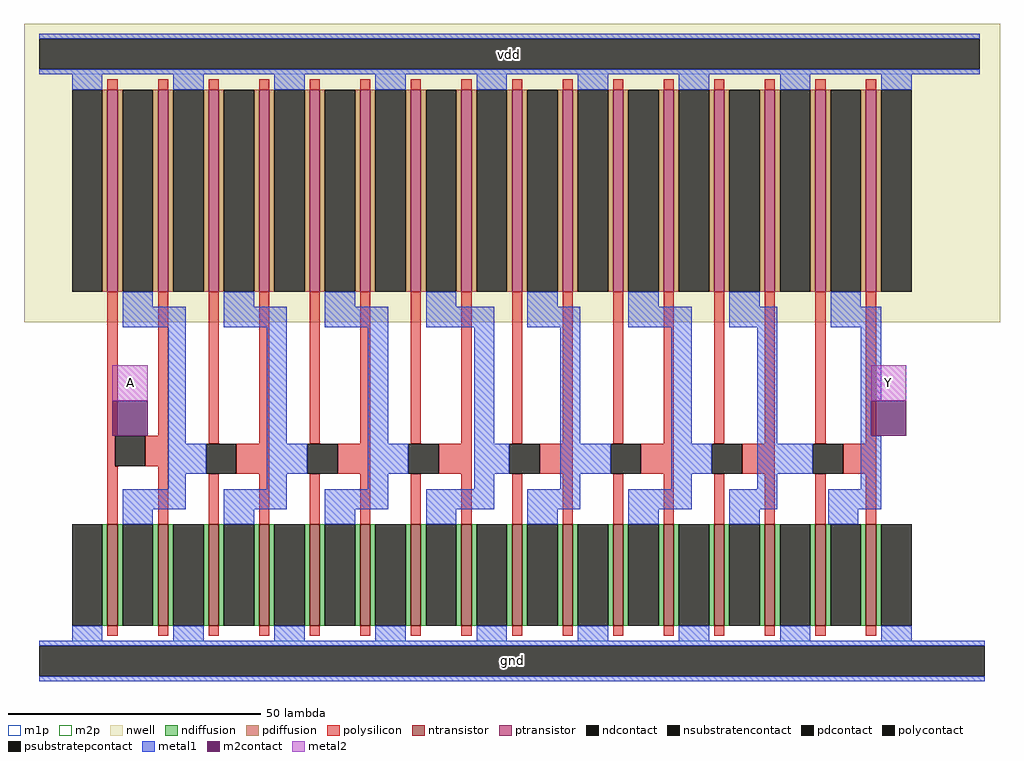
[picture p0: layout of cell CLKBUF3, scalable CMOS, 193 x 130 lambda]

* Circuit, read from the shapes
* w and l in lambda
.subckt CLKBUF3 A Y vdd gnd
M1 n1 A gnd gnd nfet w=20 l=2 m=2
M2 n2 n1 gnd gnd nfet w=20 l=2 m=2
M3 n3 n2 gnd gnd nfet w=20 l=2 m=2
M4 n4 n3 gnd gnd nfet w=20 l=2 m=2
M5 n5 n4 gnd gnd nfet w=20 l=2 m=2
M6 n6 n5 gnd gnd nfet w=20 l=2 m=2
M7 n7 n6 gnd gnd nfet w=20 l=2 m=2
M8 Y n7 gnd gnd nfet w=20 l=2 m=2
M9 n1 A vdd vdd pfet w=40 l=2 m=2
M10 n2 n1 vdd vdd pfet w=40 l=2 m=2
M11 n3 n2 vdd vdd pfet w=40 l=2 m=2
M12 n4 n3 vdd vdd pfet w=40 l=2 m=2
M13 n5 n4 vdd vdd pfet w=40 l=2 m=2
M14 n6 n5 vdd vdd pfet w=40 l=2 m=2
M15 n7 n6 vdd vdd pfet w=40 l=2 m=2
M16 Y n7 vdd vdd pfet w=40 l=2 m=2
.ends

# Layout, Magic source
magic
tech scmos
magscale 1 2
<< nwell >>
rect -12 134 374 252
<< ntransistor >>
rect 21 14 25 54
rect 41 14 45 54
rect 61 14 65 54
rect 81 14 85 54
rect 101 14 105 54
rect 121 14 125 54
rect 141 14 145 54
rect 161 14 165 54
rect 181 14 185 54
rect 201 14 205 54
rect 221 14 225 54
rect 241 14 245 54
rect 261 14 265 54
rect 281 14 285 54
rect 301 14 305 54
rect 321 14 325 54
<< ptransistor >>
rect 21 146 25 226
rect 41 146 45 226
rect 61 146 65 226
rect 81 146 85 226
rect 101 146 105 226
rect 121 146 125 226
rect 141 146 145 226
rect 161 146 165 226
rect 181 146 185 226
rect 201 146 205 226
rect 221 146 225 226
rect 241 146 245 226
rect 261 146 265 226
rect 281 146 285 226
rect 301 146 305 226
rect 321 146 325 226
<< ndiffusion >>
rect 19 14 21 54
rect 25 14 27 54
rect 39 14 41 54
rect 45 14 47 54
rect 59 14 61 54
rect 65 14 67 54
rect 79 14 81 54
rect 85 14 87 54
rect 99 14 101 54
rect 105 14 107 54
rect 119 14 121 54
rect 125 14 127 54
rect 139 14 141 54
rect 145 14 147 54
rect 159 14 161 54
rect 165 14 167 54
rect 179 14 181 54
rect 185 14 187 54
rect 199 14 201 54
rect 205 14 207 54
rect 219 14 221 54
rect 225 14 227 54
rect 239 14 241 54
rect 245 14 247 54
rect 259 14 261 54
rect 265 14 267 54
rect 279 14 281 54
rect 285 14 287 54
rect 299 14 301 54
rect 305 14 307 54
rect 319 14 321 54
rect 325 14 327 54
<< pdiffusion >>
rect 19 146 21 226
rect 25 146 27 226
rect 39 146 41 226
rect 45 146 47 226
rect 59 146 61 226
rect 65 146 67 226
rect 79 146 81 226
rect 85 146 87 226
rect 99 146 101 226
rect 105 146 107 226
rect 119 146 121 226
rect 125 146 127 226
rect 139 146 141 226
rect 145 146 147 226
rect 159 146 161 226
rect 165 146 167 226
rect 179 146 181 226
rect 185 146 187 226
rect 199 146 201 226
rect 205 146 207 226
rect 219 146 221 226
rect 225 146 227 226
rect 239 146 241 226
rect 245 146 247 226
rect 259 146 261 226
rect 265 146 267 226
rect 279 146 281 226
rect 285 146 287 226
rect 299 146 301 226
rect 305 146 307 226
rect 319 146 321 226
rect 325 146 327 226
<< ndcontact >>
rect 7 14 19 54
rect 27 14 39 54
rect 47 14 59 54
rect 67 14 79 54
rect 87 14 99 54
rect 107 14 119 54
rect 127 14 139 54
rect 147 14 159 54
rect 167 14 179 54
rect 187 14 199 54
rect 207 14 219 54
rect 227 14 239 54
rect 247 14 259 54
rect 267 14 279 54
rect 287 14 299 54
rect 307 14 319 54
rect 327 14 339 54
<< pdcontact >>
rect 7 146 19 226
rect 27 146 39 226
rect 47 146 59 226
rect 67 146 79 226
rect 87 146 99 226
rect 107 146 119 226
rect 127 146 139 226
rect 147 146 159 226
rect 167 146 179 226
rect 187 146 199 226
rect 207 146 219 226
rect 227 146 239 226
rect 247 146 259 226
rect 267 146 279 226
rect 287 146 299 226
rect 307 146 319 226
rect 327 146 339 226
<< psubstratepcontact >>
rect -6 -6 368 6
<< nsubstratencontact >>
rect -6 234 366 246
<< polysilicon >>
rect 21 226 25 230
rect 41 226 45 230
rect 61 226 65 230
rect 81 226 85 230
rect 101 226 105 230
rect 121 226 125 230
rect 141 226 145 230
rect 161 226 165 230
rect 181 226 185 230
rect 201 226 205 230
rect 221 226 225 230
rect 241 226 245 230
rect 261 226 265 230
rect 281 226 285 230
rect 301 226 305 230
rect 321 226 325 230
rect 21 89 25 146
rect 41 89 45 146
rect 21 77 24 89
rect 36 77 45 89
rect 61 86 65 146
rect 81 86 85 146
rect 101 86 105 146
rect 121 86 125 146
rect 141 86 145 146
rect 161 86 165 146
rect 181 86 185 146
rect 201 86 205 146
rect 221 86 225 146
rect 241 86 245 146
rect 261 86 265 146
rect 281 86 285 146
rect 301 86 305 146
rect 321 86 325 146
rect 21 54 25 77
rect 41 54 45 77
rect 72 74 85 86
rect 112 74 125 86
rect 152 74 165 86
rect 192 74 205 86
rect 232 74 245 86
rect 272 74 285 86
rect 312 74 325 86
rect 61 54 65 74
rect 81 54 85 74
rect 101 54 105 74
rect 121 54 125 74
rect 141 54 145 74
rect 161 54 165 74
rect 181 54 185 74
rect 201 54 205 74
rect 221 54 225 74
rect 241 54 245 74
rect 261 54 265 74
rect 281 54 285 74
rect 301 54 305 74
rect 321 54 325 74
rect 21 10 25 14
rect 41 10 45 14
rect 61 10 65 14
rect 81 10 85 14
rect 101 10 105 14
rect 121 10 125 14
rect 141 10 145 14
rect 161 10 165 14
rect 181 10 185 14
rect 201 10 205 14
rect 221 10 225 14
rect 241 10 245 14
rect 261 10 265 14
rect 281 10 285 14
rect 301 10 305 14
rect 321 10 325 14
<< polycontact >>
rect 24 77 36 89
rect 60 74 72 86
rect 100 74 112 86
rect 140 74 152 86
rect 180 74 192 86
rect 220 74 232 86
rect 260 74 272 86
rect 300 74 312 86
<< metal1 >>
rect -6 246 366 248
rect -6 232 366 234
rect 7 226 19 232
rect 47 226 59 232
rect 87 226 99 232
rect 127 226 139 232
rect 167 226 179 232
rect 207 226 219 232
rect 247 226 259 232
rect 287 226 299 232
rect 327 226 339 232
rect 27 140 39 146
rect 67 140 79 146
rect 107 140 119 146
rect 147 140 159 146
rect 187 140 199 146
rect 227 140 239 146
rect 267 140 279 146
rect 307 140 319 146
rect 27 132 52 140
rect 67 132 92 140
rect 107 132 132 140
rect 147 132 174 140
rect 187 132 208 140
rect 227 132 252 140
rect 267 132 286 140
rect 307 132 327 140
rect 45 86 52 132
rect 84 86 92 132
rect 124 86 132 132
rect 166 86 174 132
rect 200 86 208 132
rect 244 86 252 132
rect 278 86 286 132
rect 319 103 327 132
rect 319 89 323 103
rect 45 74 60 86
rect 84 74 100 86
rect 124 74 140 86
rect 166 74 180 86
rect 200 74 220 86
rect 244 74 260 86
rect 278 74 300 86
rect 45 68 52 74
rect 84 68 92 74
rect 124 68 132 74
rect 166 68 174 74
rect 200 68 208 74
rect 244 68 252 74
rect 278 68 286 74
rect 319 68 327 89
rect 27 60 52 68
rect 67 60 92 68
rect 107 60 132 68
rect 147 60 174 68
rect 187 60 208 68
rect 227 60 252 68
rect 267 60 286 68
rect 306 60 327 68
rect 27 54 39 60
rect 67 54 79 60
rect 107 54 119 60
rect 147 54 159 60
rect 187 54 199 60
rect 227 54 239 60
rect 267 54 279 60
rect 306 54 318 60
rect 7 8 19 14
rect 47 8 59 14
rect 87 8 99 14
rect 127 8 139 14
rect 167 8 179 14
rect 207 8 219 14
rect 247 8 259 14
rect 287 8 299 14
rect 327 8 339 14
rect -6 6 368 8
rect -6 -8 368 -6
<< m2contact >>
rect 23 89 37 103
rect 323 89 337 103
<< metal2 >>
rect 23 103 37 117
rect 323 103 337 117
<< m1p >>
rect -6 232 366 248
rect -6 -8 368 8
<< m2p >>
rect 23 103 37 117
rect 323 103 337 117
<< labels >>
rlabel metal1 -6 -8 368 8 0 gnd
port 3 nsew ground bidirectional abutment
rlabel metal1 -6 232 366 248 0 vdd
port 2 nsew power bidirectional abutment
rlabel metal2 23 103 37 117 0 A
port 0 nsew signal input
rlabel metal2 323 103 337 117 0 Y
port 1 nsew signal output
<< properties >>
string FIXED_BBOX 0 0 360 240
string LEFclass CORE
string LEFsite core
string LEFsymmetry X Y
<< end >>
